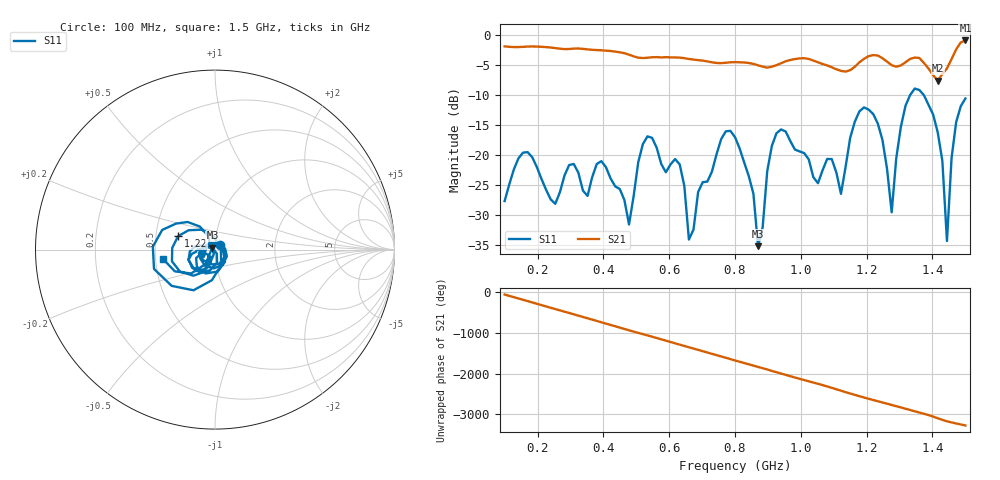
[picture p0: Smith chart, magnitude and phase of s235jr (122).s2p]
! NanoVNA-App
! Date: 2025-09-26 09:45:44
! Start: 100MHz Stop: 1,5GHz Points: 101
! S-Parameter data: F S11 S21 S12 S22
# Hz S RI R 50
!  Frequency  S11_Real  S11_Imag  S21_Real  S21_Imag  S12_Real  S12_Imag  S22_Real  S22_Imag
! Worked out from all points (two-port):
!   101 points, 100 MHz to 1.5 GHz, reference 50 ohm
!   highest |S21| = -0.97 dB at 1.5 GHz (marker M1); lowest = -7.6 dB at 1.416 GHz (marker M2)
!   |S21| within 3 dB of the highest: start of sweep to 652.1 MHz; 1.194 GHz to 1.249 GHz (55.75 MHz wide, 4.56 % of centre) (the widest 2 of 5)
!   lowest |S11| = -35.1 dB at 870 MHz (marker M3), VSWR 1.04, Z = 48.6 + j0.978 ohm
!   |S11| at or under -10 dB: start of sweep to 1.333 GHz; 1.373 GHz to end of sweep
!   S12 and S22 are empty: the file has one direction only
!   S11 on the Smith chart (normalised r, x): 100 MHz: 1.06, +0.06; 1.22 GHz: 0.65, +0.10; 1.5 GHz: 0.55, -0.06
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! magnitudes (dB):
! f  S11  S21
! 100 MHz  -27.6  -2.0
! 156 MHz  -19.6  -2.0
! 338 MHz  -25.9  -2.4
! 394 MHz  -21.0  -2.6
! 478 MHz  -31.5  -3.3
! 520 MHz  -18.2  -3.9
! 576 MHz  -21.5  -3.8
! 632 MHz  -21.6  -3.8
! 660 MHz  -34.0  -4.0
! 800 MHz  -17.0  -4.6
! 870 MHz  -35.1  -5.1
! 926 MHz  -16.4  -5.1
! 1.038 GHz  -23.7  -4.3
! 1.122 GHz  -26.4  -6.0
! 1.164 GHz  -14.5  -5.4
! 1.22 GHz  -13.2  -3.4
! 1.276 GHz  -29.5  -5.1
! 1.332 GHz  -10.0  -4.0
! 1.416 GHz  -16.3  -7.6
! 1.444 GHz  -34.3  -5.6
! 1.472 GHz  -14.5  -2.5
! 1.5 GHz  -10.6  -1.0
